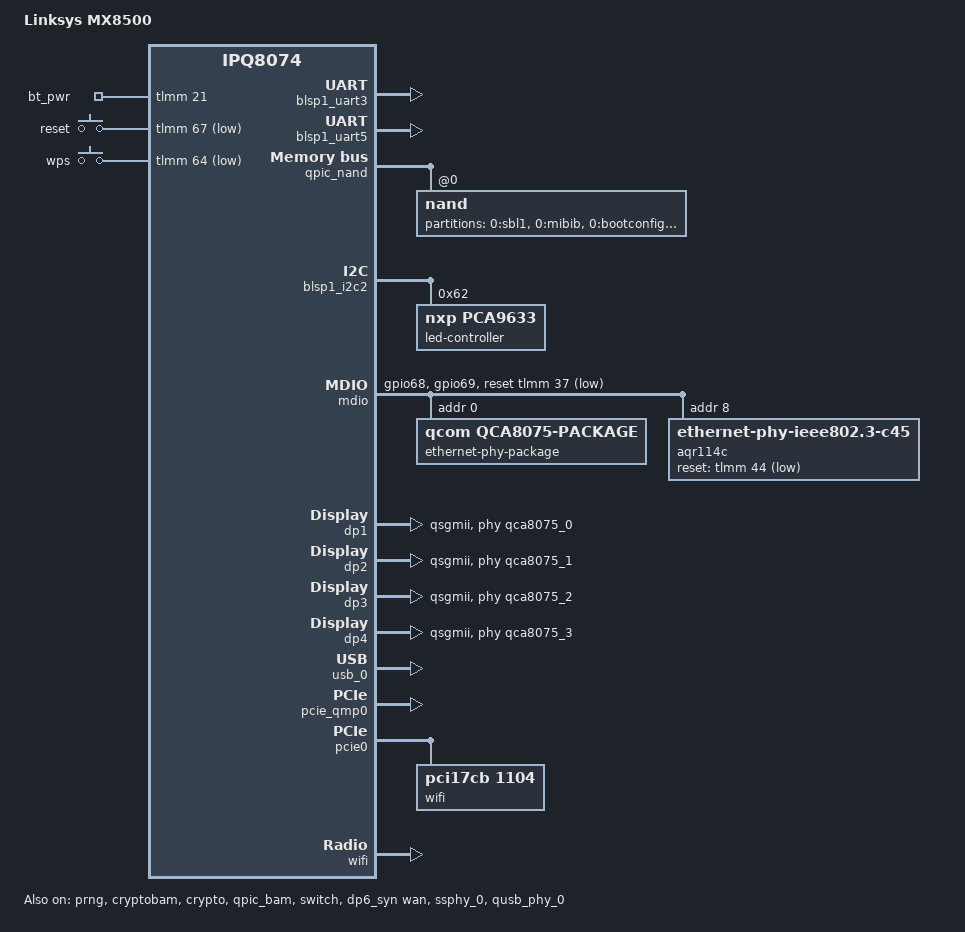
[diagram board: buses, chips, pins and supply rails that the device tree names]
// SPDX-License-Identifier: GPL-2.0-or-later OR MIT

/dts-v1/;

#include "ipq8074.dtsi"
#include "ipq8074-hk-cpu.dtsi"
#include "ipq8074-ess.dtsi"
#include <dt-bindings/gpio/gpio.h>
#include <dt-bindings/input/input.h>
#include <dt-bindings/leds/common.h>

/ {
	model = "Linksys MX8500";
	compatible = "linksys,mx8500", "qcom,ipq8074";

	aliases {
		serial0 = &blsp1_uart5;
		serial1 = &blsp1_uart3;
		led-boot = &led_system_blue;
		led-running = &led_system_blue;
		led-failsafe = &led_system_red;
		led-upgrade = &led_system_green;
	};

	chosen {
		stdout-path = "serial0:115200n8";
		bootargs-append = " root=/dev/ubiblock0_0 rootfstype=squashfs ro";
	};

	gpio_export {
		compatible = "gpio-export";
		#size-cells = <0>;

		bt_pwr {
			gpio-export,name = "bt_pwr";
			gpio-export,output = <1>;
			gpios = <&tlmm 21 GPIO_ACTIVE_HIGH>;
		};
	};

	keys {
		compatible = "gpio-keys";
		pinctrl-0 = <&button_pins>;
		pinctrl-names = "default";

		reset-button {
			label = "reset";
			gpios = <&tlmm 67 GPIO_ACTIVE_LOW>;
			linux,code = <KEY_RESTART>;
		};

		wps-button {
			label = "wps";
			gpios = <&tlmm 64 GPIO_ACTIVE_LOW>;
			linux,code = <KEY_WPS_BUTTON>;
		};
	};
};

&tlmm {
	button_pins: button-state {
		pins = "gpio64", "gpio67";
		function = "gpio";
		drive-strength = <8>;
		bias-pull-up;
	};

	mdio_pins: mdio-state {
		mdc-pins {
			pins = "gpio68";
			function = "mdc";
			drive-strength = <8>;
			bias-pull-up;
		};

		mdio-pins {
			pins = "gpio69";
			function = "mdio";
			drive-strength = <8>;
			bias-pull-up;
		};
	};
};

&blsp1_uart3 {
	status = "okay";
};

&blsp1_uart5 {
	status = "okay";
};

&prng {
	status = "okay";
};

&cryptobam {
	status = "okay";
};

&crypto {
	status = "okay";
};

&qpic_bam {
	status = "okay";
};

&qpic_nand {
	status = "okay";

	/*
	 * Bootloader will find the NAND DT node by the compatible and
	 * then "fixup" it by adding the partitions from the SMEM table
	 * using the legacy bindings thus making it impossible for us
	 * to change the partition table or utilize NVMEM for calibration.
	 * So add a dummy partitions node that bootloader will populate
	 * and set it as disabled so the kernel ignores it instead of
	 * printing warnings due to the broken way bootloader adds the
	 * partitions.
	 */
	partitions {
		status = "disabled";
	};

	nand@0 {
		reg = <0>;
		nand-ecc-strength = <4>;
		nand-ecc-step-size = <512>;
		nand-bus-width = <8>;

		#address-cells = <1>;
		#size-cells = <1>;

		partitions {
			compatible = "fixed-partitions";
			#address-cells = <1>;
			#size-cells = <1>;

			partition@0 {
				label = "0:sbl1";
				reg = <0x0 0x100000>;
				read-only;
			};

			partition@100000 {
				label = "0:mibib";
				reg = <0x100000 0x100000>;
				read-only;
			};

			partition@200000 {
				label = "0:bootconfig";
				reg = <0x200000 0x80000>;
				read-only;
			};

			partition@280000 {
				label = "0:bootconfig1";
				reg = <0x280000 0x80000>;
				read-only;
			};

			partition@300000 {
				label = "0:qsee";
				reg = <0x300000 0x300000>;
				read-only;
			};

			partition@600000 {
				label = "0:qsee_1";
				reg = <0x600000 0x300000>;
				read-only;
			};

			partition@900000 {
				label = "0:devcfg";
				reg = <0x900000 0x80000>;
				read-only;
			};

			partition@980000 {
				label = "0:devcfg_1";
				reg = <0x980000 0x80000>;
				read-only;
			};

			partition@a00000 {
				label = "0:apdp";
				reg = <0xa00000 0x80000>;
				read-only;
			};

			partition@a80000 {
				label = "0:apdp_1";
				reg = <0xa80000 0x80000>;
				read-only;
			};

			partition@b00000 {
				label = "0:rpm";
				reg = <0xb00000 0x80000>;
				read-only;
			};

			partition@b80000 {
				label = "0:rpm_1";
				reg = <0xb80000 0x80000>;
				read-only;
			};

			partition@c00000 {
				label = "0:cdt";
				reg = <0xc00000 0x80000>;
				read-only;
			};

			partition@c80000 {
				label = "0:cdt_1";
				reg = <0xc80000 0x80000>;
				read-only;
			};

			partition@d00000 {
				label = "0:appsblenv";
				reg = <0xd00000 0x80000>;
			};

			partition@d80000 {
				label = "0:appsbl";
				reg = <0xd80000 0x100000>;
				read-only;
			};

			partition@e80000 {
				label = "0:appsbl_1";
				reg = <0xe80000 0x100000>;
				read-only;
			};

			partition@f80000 {
				label = "0:art";
				reg = <0xf80000 0x80000>;
				read-only;
			};

			partition@1000000 {
				label = "u_env";
				reg = <0x1000000 0x40000>;
			};

			partition@1040000 {
				label = "s_env";
				reg = <0x1040000 0x20000>;
			};

			partition@1060000 {
				label = "devinfo";
				reg = <0x1060000 0x20000>;
				read-only;
			};

			partition@1080000 {
				label = "kernel";
				reg = <0x1080000 0x9600000>;
			};

			partition@1680000 {
				label = "rootfs";
				reg = <0x1680000 0x9000000>;
			};

			partition@a680000 {
				label = "alt_kernel";
				reg = <0xa680000 0x9600000>;
			};

			partition@ac80000 {
				label = "alt_rootfs";
				reg = <0xac80000 0x9000000>;
			};

			partition@13c80000 {
				label = "sysdiag";
				reg = <0x13c80000 0x200000>;
				read-only;
			};

			partition@13e80000 {
				label = "0:ethphyfw";
				reg = <0x13e80000 0x100000>;
				read-only;

				nvmem-layout {
					compatible = "fixed-layout";
					#address-cells = <1>;
					#size-cells = <1>;

					aqr_fw: firmware@0 {
						/* Skip the QCOM MBN Header of 40 bytes */
						reg = <0x28 0x60002>;
					};
				};
			};

			partition@13f80000 {
				label = "syscfg";
				reg = <0x13f80000 0xb180000>;
				read-only;
			};

			partition@1f100000 {
				label = "app_data";
				reg = <0x1f100000 0x500000>;
				read-only;
			};

			partition@1f600000 {
				label = "0:wififw";
				reg = <0x1f600000 0xa00000>;
				read-only;
			};
		};
	};
};

&blsp1_i2c2 {
	status = "okay";

	led-controller@62 {
		compatible = "nxp,pca9633";
		#address-cells = <1>;
		#size-cells = <0>;
		reg = <0x62>;
		nxp,hw-blink;

		led_system_red: led@0 {
			reg = <0>;
			color = <LED_COLOR_ID_RED>;
			function = LED_FUNCTION_STATUS;
		};

		led_system_green: led@1 {
			reg = <1>;
			color = <LED_COLOR_ID_GREEN>;
			function = LED_FUNCTION_STATUS;
		};

		led_system_blue: led@2 {
			reg = <2>;
			color = <LED_COLOR_ID_BLUE>;
			function = LED_FUNCTION_STATUS;
		};
	};
};

&mdio {
	status = "okay";

	pinctrl-0 = <&mdio_pins>;
	pinctrl-names = "default";
	reset-gpios = <&tlmm 37 GPIO_ACTIVE_LOW>;

	ethernet-phy-package@0 {
		#address-cells = <1>;
		#size-cells = <0>;
		compatible = "qcom,qca8075-package";
		reg = <0>;

		qcom,package-mode = "qsgmii";

		qca8075_0: ethernet-phy@0 {
			compatible = "ethernet-phy-ieee802.3-c22";
			reg = <0>;
		};

		qca8075_1: ethernet-phy@1 {
			compatible = "ethernet-phy-ieee802.3-c22";
			reg = <1>;
		};

		qca8075_2: ethernet-phy@2 {
			compatible = "ethernet-phy-ieee802.3-c22";
			reg = <2>;
		};

		qca8075_3: ethernet-phy@3 {
			compatible = "ethernet-phy-ieee802.3-c22";
			reg = <3>;
		};
	};

	aqr114c: ethernet-phy@8 {
		compatible = "ethernet-phy-ieee802.3-c45";
		reg = <8>;
		reset-gpios = <&tlmm 44 GPIO_ACTIVE_LOW>;
		firmware-name = "marvell/AQR-G4_v5.6.5-AQR_WNC_SAQA-L2_GT_ID45287_VER24005.cld";
		nvmem-cells = <&aqr_fw>;
		nvmem-cell-names = "firmware";
	};
};

&switch {
	status = "okay";

	switch_lan_bmp = <(ESS_PORT1 | ESS_PORT2 | ESS_PORT3 | ESS_PORT4)>; /* lan port bitmap */
	switch_wan_bmp = <ESS_PORT6>; /* wan port bitmap */
	switch_mac_mode = <MAC_MODE_QSGMII>; /* mac mode for uniphy instance0*/
	switch_mac_mode2 = <MAC_MODE_USXGMII>; /* mac mode for uniphy instance2*/

	qcom,port_phyinfo {
		port@1 {
			port_id = <1>;
			phy_address = <0>;
		};

		port@2 {
			port_id = <2>;
			phy_address = <1>;
		};

		port@3 {
			port_id = <3>;
			phy_address = <2>;
		};

		port@4 {
			port_id = <4>;
			phy_address = <3>;
		};

		port@6 {
			port_id = <6>;
			phy_address = <8>;
			compatible = "ethernet-phy-ieee802.3-c45";
			ethernet-phy-ieee802.3-c45;
		};
	};
};

&edma {
	status = "okay";
};

&dp1 {
	status = "okay";
	phy-mode = "qsgmii";
	phy-handle = <&qca8075_0>;
	label = "lan1";
};

&dp2 {
	status = "okay";
	phy-mode = "qsgmii";
	phy-handle = <&qca8075_1>;
	label = "lan2";
};

&dp3 {
	status = "okay";
	phy-mode = "qsgmii";
	phy-handle = <&qca8075_2>;
	label = "lan3";
};

&dp4 {
	status = "okay";
	phy-mode = "qsgmii";
	phy-handle = <&qca8075_3>;
	label = "lan4";
};

&dp6_syn {
	status = "okay";
	phy-mode = "usxgmii";
	phy-handle = <&aqr114c>;
	label = "wan";
};

&ssphy_0 {
	status = "okay";
};

&qusb_phy_0 {
	status = "okay";
};

&usb_0 {
	status = "okay";
};

&pcie_qmp0 {
	status = "okay";
};

&pcie0 {
	status = "okay";

	perst-gpio = <&tlmm 61 GPIO_ACTIVE_LOW>;

	bridge@0,0 {
		reg = <0x00000000 0 0 0 0>;
		#address-cells = <3>;
		#size-cells = <2>;
		ranges;

		wifi@1,0 {
			status = "okay";

			/* ath11k has no DT compatible for PCI cards */
			compatible = "pci17cb,1104";
			reg = <0x00010000 0 0 0 0>;

			qcom,ath11k-calibration-variant = "Linksys-MX8500";
		};
	};
};

&wifi {
	status = "okay";

	qcom,ath11k-calibration-variant = "Linksys-MX8500";
};
